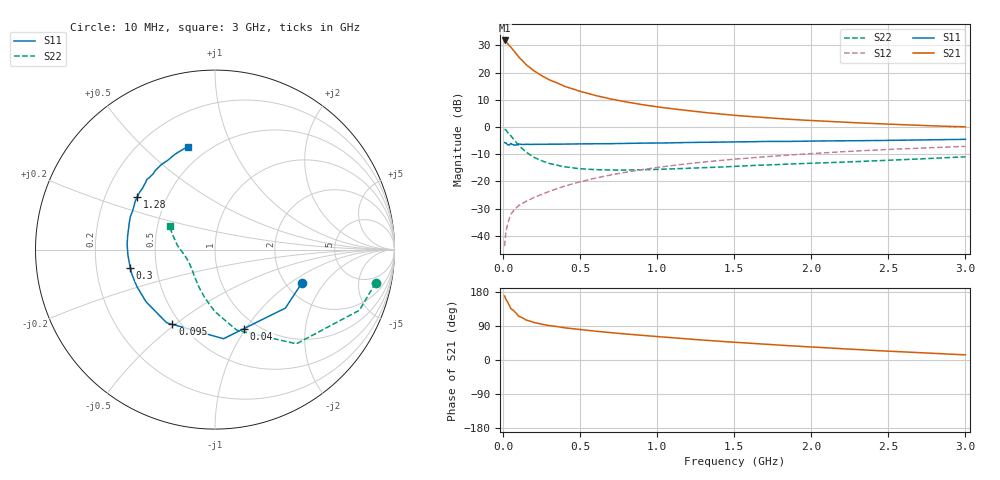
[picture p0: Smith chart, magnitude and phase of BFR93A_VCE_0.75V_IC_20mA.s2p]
! Infineon Technologies  Discrete & RF Semiconductors
! BFR93A
! VCE = 0.75 V,  IC =  20 mA
! Common Emitter S-Parameters:  Nov 2015
# GHz  S  MA  R  50
!  f  S11  S21  S12  S22
! GHz  MAG  ANG  MAG  ANG  MAG  ANG  MAG  ANG
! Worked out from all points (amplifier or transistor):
!   180 points, 10 MHz to 3 GHz, reference 50 ohm
!   highest |S21| = 31.8 dB at 10 MHz (marker M1)
!   |S21| within 3 dB of that: start of sweep to 58.54 MHz
!   unconditionally stable (mu >= 1): 346.4 MHz to end of sweep
!   at 160 MHz: K = 0.75, MSG = 24.7 dB, |S12| = -27.0 dB
!   at 1.22 GHz: K = 1.11, MAG = 7.6 dB, |S12| = -13.3 dB
!   at 3 GHz: K = 1.04, MAG = 2.4 dB, |S12| = -7.1 dB
!   S11 on the Smith chart (normalised r, x): 10 MHz: 2.45, -1.23; 40 MHz: 0.87, -0.98; 95 MHz: 0.45, -0.49; 300 MHz: 0.35, -0.09; 1.28 GHz: 0.34, +0.27; 3 GHz: 0.39, +0.69
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0.01  0.5192 -20.7  38.75 168.9  0.0065 80.9  0.9137 -11.7
0.02  0.5099 -39.7  36.83 158.8  0.0125 74.3  0.8726 -22.8
0.04  0.4687 -69.7  31.21 144.6  0.0208 63.8  0.7343 -39.1
0.05  0.4988 -84.5  29.3 135.8  0.0251 61.2  0.6934 -49.2
0.095  0.4795 -119.7  20.22 118.6  0.0349 54.6  0.4812 -71.4
0.1  0.4886 -123.5  19.38 115.7  0.036 54.1  0.4642 -75.0
0.15  0.4818 -142.9  13.89 105.4  0.0433 54.6  0.3452 -90.2
0.2  0.4812 -154.4  10.75 99.0  0.0507 56.8  0.2789 -101.0
0.24  0.4817 -160.7  9.125 95.4  0.0565 58.4  0.2471 -107.8
0.26  0.4826 -163.4  8.447 93.7  0.0595 59.2  0.2344 -111.1
0.3  0.4833 -167.7  7.343 90.7  0.0657 60.5  0.2141 -117.0
0.4  0.4862 -176.6  5.566 84.9  0.0821 62.7  0.1859 -128.8
0.52  0.4905 175.6  4.357 79.5  0.1018 63.6  0.1701 -138.7
0.6  0.4925 171.3  3.782 76.0  0.1152 63.7  0.1651 -144.7
0.7  0.4945 166.9  3.261 72.0  0.132 63.4  0.1623 -150.5
0.9  0.5061 158.7  2.575 65.1  0.1647 61.8  0.1644 -160.3
1.02  0.508 154.3  2.303 61.2  0.184 60.3  0.1671 -164.6
1.28  0.523 146.1  1.884 53.1  0.2241 56.9  0.178 -173.0
1.52  0.5299 139.3  1.621 46.3  0.2593 53.7  0.1907 -179.0
2.02  0.553 126.5  1.305 34.0  0.3277 46.4  0.217 171.0
2.52  0.5698 115.1  1.123 22.8  0.3898 38.7  0.2462 161.8
3  0.5938 104.7  1.005 13.5  0.4403 31.1  0.2839 152.7
